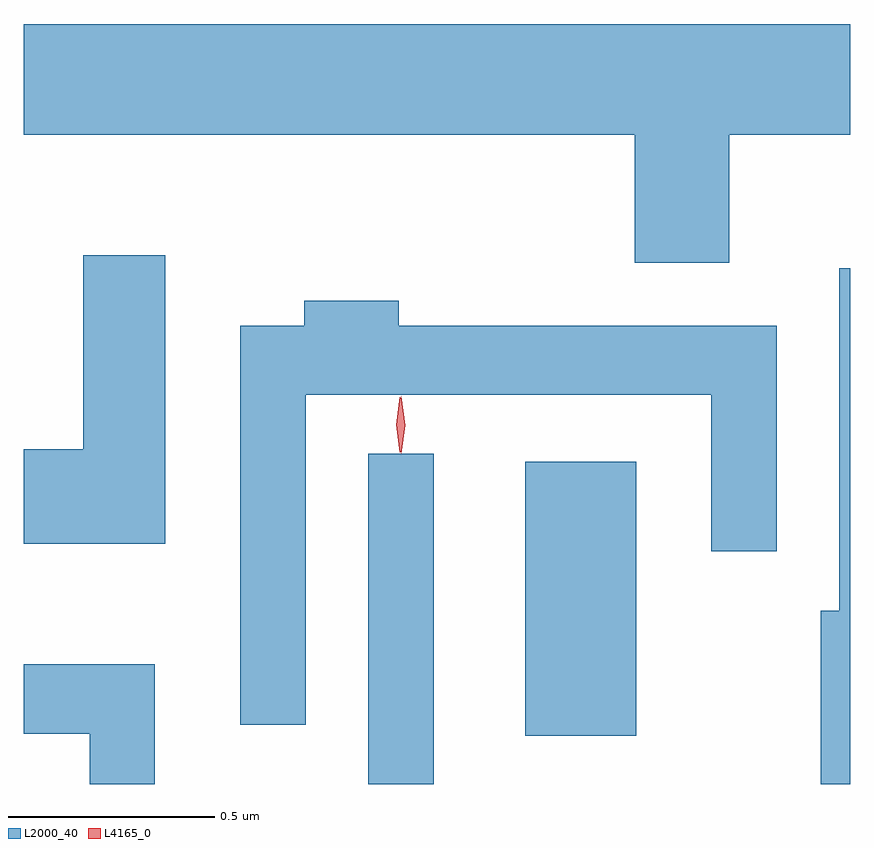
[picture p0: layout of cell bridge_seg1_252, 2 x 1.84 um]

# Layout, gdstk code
import gdstk
lib = gdstk.Library(unit=1e-6, precision=1e-09)
def R(c, l, rs):  # rectangles x0, y0, x1, y1
    for r in rs: c.add(gdstk.rectangle(r[:2], r[2:], *l))
def P(c, l, *ps):  # polygons
    for p in ps: c.add(gdstk.Polygon(p, *l))
L2000_40 = (2000, 40)
L4165_0 = (4165, 0)

bridge_seg1_252 = lib.new_cell('bridge_seg1_252')
R(bridge_seg1_252, L2000_40, [(956.726,898.004,956.884,898.803), (957.106,898.121,957.374,898.784)])
P(bridge_seg1_252, L2000_40, [(957.599,899.576),(957.892,899.576),(957.892,899.844),(955.892,899.844),(955.892,899.576),(957.371,899.576),(957.371,899.266),(957.599,899.266)],
  [(956.234,899.284),(956.036,899.284),(956.036,898.814),(955.892,898.814),(955.892,898.586),(956.234,898.586)],
  [(957.892,899.253),(957.866,899.253),(957.866,898.424),(957.821,898.424),(957.821,898.004),(957.892,898.004)],
  [(956.574,898.946),(957.556,898.946),(957.556,898.568),(957.714,898.568),(957.714,899.114),(956.799,899.114),(956.799,899.174),(956.571,899.174),(956.571,899.114),(956.416,899.114),(956.416,898.148),(956.574,898.148)],
  [(955.892,898.294),(955.892,898.126),(956.051,898.126),(956.051,898.004),(956.209,898.004),(956.209,898.294)])
P(bridge_seg1_252, L4165_0, [(956.805,898.804),(956.796,898.873),(956.805,898.943),(956.806,898.943),(956.806,898.943),(956.815,898.873),(956.806,898.804),(956.806,898.804)],
  [(956.802,898.807),(956.793,898.874),(956.802,898.94),(956.802,898.94),(956.803,898.94),(956.813,898.874),(956.803,898.807),(956.803,898.807)])

lib.write_gds('bridge_seg1_252.gds')
